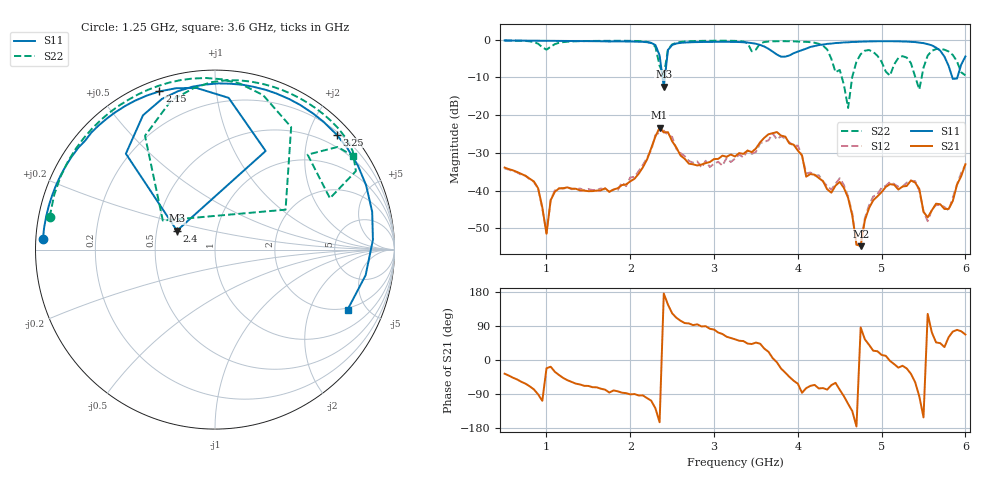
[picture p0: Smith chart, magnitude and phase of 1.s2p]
!Agilent Technologies,N5230A,US43500308,A.06.04.32
!Agilent N5230A: A.06.04.32
!Date: Thursday, July 11, 2024 10:57:12
!Correction: S11(Full 2 Port(1,2)) S21(Full 2 Port(1,2)) S12(Full 2 Port(1,2)) S22(Full 2 Port(1,2))
!S2P File: Measurements: S11, S21, S12, S22:
# Hz S  dB  R 50
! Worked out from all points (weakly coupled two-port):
!   111 points, 500 MHz to 6 GHz, reference 50 ohm
!   highest |S21| = -23.32 dB at 2.35 GHz (marker M1); lowest = -54.8 dB at 4.75 GHz (marker M2)
!   lowest |S11| = -12.5 dB at 2.4 GHz (marker M3), VSWR 1.62, Z = 31.9 + j7.12 ohm
!   |S11| at or under -10 dB: 2.385 GHz to 2.413 GHz (27.9 MHz wide, 1.16 % of centre); 5.844 GHz to 5.904 GHz (60.04 MHz wide, 1.02 % of centre)
!   |S22| runs from -18.1 to -0.2 dB; largest |S21 - S12| = 0.013
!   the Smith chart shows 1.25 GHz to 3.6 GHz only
!   S11 on the Smith chart (normalised r, x): 1.25 GHz: 0.02, +0.03; 2.15 GHz: 0.05, +0.71; 2.4 GHz: 0.64, +0.14; 3.25 GHz: 0.25, +2.49; 3.6 GHz: 1.91, -3.72
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5e8  -0.21 -101.4  -33.92 -36.2  -34.14 -36.6  -0.24 169.9
8e8  -0.27 -141.0  -36.87 -69.4  -37.05 -69.1  -0.44 119.6
9.5e8  -0.30 -156.8  -44.45 -107.7  -44.83 -106.3  -2.02 26.6
1.05e9  -0.32 -166.3  -42.56 -17.7  -42.47 -15.6  -1.87 -111.8
1.25e9  -0.35 176.6  -39.17 -53.3  -39.15 -50.6  -0.54 168.8
1.45e9  -0.39 161.4  -40.02 -68.1  -39.99 -62.5  -0.38 144.1
2.15e9  -0.59 109.3  -33.87 -93.4  -33.21 -99.3  -0.45 87.8
2.35e9  -4.18 62.8  -23.32 -164.2  -24.60 -165.0  -6.90 29.5
2.4e9  -12.51 153.6  -24.60 175.3  -24.13 175.5  -9.55 150.9
2.6e9  -0.86 103.2  -30.73 103.5  -30.04 99.7  -0.61 91.4
3.25e9  -0.61 43.4  -30.98 54.7  -31.55 53.3  -0.33 44.4
3.6e9  -1.82 -24.3  -26.01 30.0  -27.07 38.1  -0.63 34.1
3.75e9  -3.95 -94.1  -24.50 -6.1  -26.43 -1.5  -0.42 21.6
3.9e9  -4.19 178.1  -27.55 -44.7  -27.23 -37.0  -0.42 10.2
4.2e9  -1.70 95.2  -35.81 -65.7  -36.06 -67.7  -0.83 -18.6
4.6e9  -0.70 51.5  -41.96 -115.8  -41.58 -117.9  -18.12 2.3
4.75e9  -0.52 38.7  -54.76 86.1  -53.82 90.0  -3.86 9.5
5.1e9  -0.42 12.4  -38.32 -2.5  -37.76 -5.4  -9.54 -18.6
5.5e9  -0.92 -26.8  -45.66 -151.5  -45.50 -154.6  -7.44 3.7
5.7e9  -2.93 -67.3  -43.64 44.4  -43.77 37.1  -2.45 -42.6
5.85e9  -10.41 -164.4  -42.77 75.0  -41.90 76.7  -4.07 -70.3
6e9  -4.46 55.2  -33.03 67.3  -33.23 67.1  -9.47 -51.8
